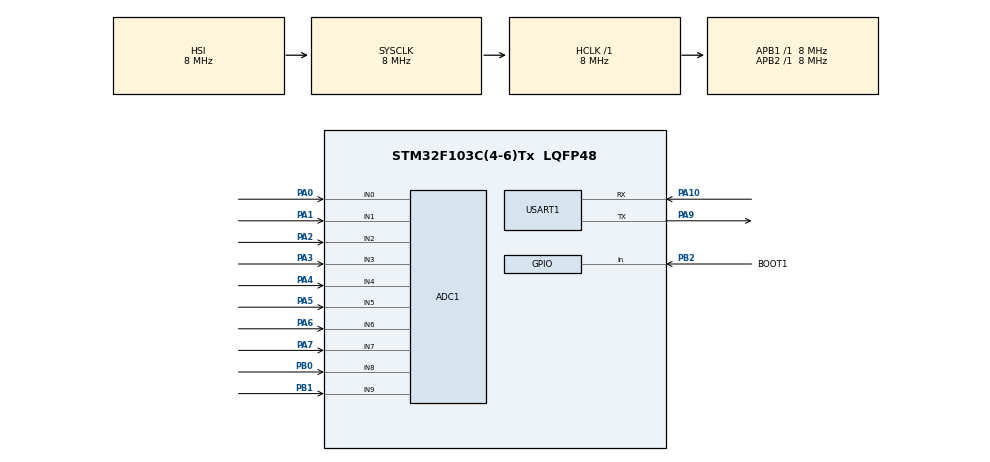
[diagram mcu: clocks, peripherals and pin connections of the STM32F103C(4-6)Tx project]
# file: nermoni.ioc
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ADC1.Channel-10\#ChannelRegularConversion=ADC_CHANNEL_0
ADC1.Channel-11\#ChannelRegularConversion=ADC_CHANNEL_1
ADC1.Channel-12\#ChannelRegularConversion=ADC_CHANNEL_2
ADC1.Channel-13\#ChannelRegularConversion=ADC_CHANNEL_3
ADC1.Channel-14\#ChannelRegularConversion=ADC_CHANNEL_4
ADC1.Channel-15\#ChannelRegularConversion=ADC_CHANNEL_5
ADC1.Channel-16\#ChannelRegularConversion=ADC_CHANNEL_6
ADC1.Channel-17\#ChannelRegularConversion=ADC_CHANNEL_7
ADC1.Channel-18\#ChannelRegularConversion=ADC_CHANNEL_8
ADC1.Channel-19\#ChannelRegularConversion=ADC_CHANNEL_9
ADC1.ContinuousConvMode=ENABLE
ADC1.NbrOfConversion=10
ADC1.NbrOfConversionFlag=1
ADC1.Rank-10\#ChannelRegularConversion=1
ADC1.Rank-11\#ChannelRegularConversion=2
ADC1.Rank-12\#ChannelRegularConversion=3
ADC1.Rank-13\#ChannelRegularConversion=4
ADC1.Rank-14\#ChannelRegularConversion=5
ADC1.Rank-15\#ChannelRegularConversion=6
ADC1.Rank-16\#ChannelRegularConversion=7
ADC1.Rank-17\#ChannelRegularConversion=8
ADC1.Rank-18\#ChannelRegularConversion=9
ADC1.Rank-19\#ChannelRegularConversion=10
ADC1.SamplingTime-10\#ChannelRegularConversion=ADC_SAMPLETIME_239CYCLES_5
ADC1.SamplingTime-11\#ChannelRegularConversion=ADC_SAMPLETIME_239CYCLES_5
ADC1.SamplingTime-12\#ChannelRegularConversion=ADC_SAMPLETIME_239CYCLES_5
ADC1.SamplingTime-13\#ChannelRegularConversion=ADC_SAMPLETIME_239CYCLES_5
ADC1.SamplingTime-14\#ChannelRegularConversion=ADC_SAMPLETIME_239CYCLES_5
ADC1.SamplingTime-15\#ChannelRegularConversion=ADC_SAMPLETIME_239CYCLES_5
ADC1.SamplingTime-16\#ChannelRegularConversion=ADC_SAMPLETIME_239CYCLES_5
ADC1.SamplingTime-17\#ChannelRegularConversion=ADC_SAMPLETIME_239CYCLES_5
ADC1.SamplingTime-18\#ChannelRegularConversion=ADC_SAMPLETIME_239CYCLES_5
ADC1.SamplingTime-19\#ChannelRegularConversion=ADC_SAMPLETIME_239CYCLES_5
ADC1.master=1
Dma.ADC1.0.Direction=DMA_PERIPH_TO_MEMORY
Dma.ADC1.0.Instance=DMA1_Channel1
Dma.ADC1.0.MemDataAlignment=DMA_MDATAALIGN_HALFWORD
Dma.ADC1.0.MemInc=DMA_MINC_ENABLE
Dma.ADC1.0.Mode=DMA_CIRCULAR
Dma.ADC1.0.PeriphDataAlignment=DMA_PDATAALIGN_HALFWORD
Dma.ADC1.0.PeriphInc=DMA_PINC_DISABLE
Dma.ADC1.0.Priority=DMA_PRIORITY_HIGH
Dma.Request0=ADC1
Mcu.Family=STM32F1
Mcu.Name=STM32F103C(4-6)Tx
Mcu.Package=LQFP48
NVIC.DMA1_Channel1_IRQn=true\:0\:0\:false\:false\:true\:false\:true\:true
NVIC.PriorityGroup=NVIC_PRIORITYGROUP_4
PA0-WKUP.Signal=ADCx_IN0
PA1.Signal=ADCx_IN1
PA10.Mode=Asynchronous
PA10.Signal=USART1_RX
PA2.Signal=ADCx_IN2
PA3.Signal=ADCx_IN3
PA4.Signal=ADCx_IN4
PA5.Signal=ADCx_IN5
PA6.Signal=ADCx_IN6
PA7.Signal=ADCx_IN7
PA9.Mode=Asynchronous
PA9.Signal=USART1_TX
PB0.Signal=ADCx_IN8
PB1.Signal=ADCx_IN9
PB2.GPIO_Label=BOOT1
PB2.Signal=GPIO_Input
ProjectManager.HeapSize=0x200
ProjectManager.StackSize=0x400
ProjectManager.TargetToolchain=Makefile
RCC.ADCPresc=RCC_ADCPCLK2_DIV4
RCC.AHBFreq_Value=8000000
RCC.APB1Freq_Value=8000000
RCC.APB1TimFreq_Value=8000000
RCC.APB2Freq_Value=8000000
RCC.APB2TimFreq_Value=8000000
RCC.HCLKFreq_Value=8000000
RCC.PLLMUL=RCC_PLL_MUL4
RCC.SYSCLKFreq_VALUE=8000000
RCC.USBFreq_Value=16000000
SH.ADCx_IN0.0=ADC1_IN0,IN0
SH.ADCx_IN1.0=ADC1_IN1,IN1
SH.ADCx_IN2.0=ADC1_IN2,IN2
SH.ADCx_IN3.0=ADC1_IN3,IN3
SH.ADCx_IN4.0=ADC1_IN4,IN4
SH.ADCx_IN5.0=ADC1_IN5,IN5
SH.ADCx_IN6.0=ADC1_IN6,IN6
SH.ADCx_IN7.0=ADC1_IN7,IN7
SH.ADCx_IN8.0=ADC1_IN8,IN8
SH.ADCx_IN9.0=ADC1_IN9,IN9
USART1.VirtualMode=VM_ASYNC
VP_SYS_VS_ND.Mode=No_Debug
board=custom

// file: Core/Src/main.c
/* USER CODE BEGIN Header */
/**
  ******************************************************************************
  * @file           : main.c
  * @brief          : Main program body
  ******************************************************************************
  * @attention
  *
  * Copyright (c) 2025 STMicroelectronics.
  * All rights reserved.
  *
  * This software is licensed under terms that can be found in the LICENSE file
  * in the root directory of this software component.
  * If no LICENSE file comes with this software, it is provided AS-IS.
  *
  ******************************************************************************
  */
/* USER CODE END Header */
#include "main.h"

/* USER CODE BEGIN Includes */
#include <assert.h>
/* USER CODE END Includes */

ADC_HandleTypeDef hadc1;
DMA_HandleTypeDef hdma_adc1;

UART_HandleTypeDef huart1;

void SystemClock_Config(void);
static void MX_GPIO_Init(void);
static void MX_DMA_Init(void);
static void MX_USART1_UART_Init(void);
static void MX_ADC1_Init(void);

/* USER CODE BEGIN 0 */
/* the following reroutes printf to uart */
#ifdef __GNUC__
#define PUTCHAR_PROTOTYPE int __io_putchar(int ch)
#else
#define PUTCHAR_PROTOTYPE int fputc(int ch, FILE *f)
#endif

PUTCHAR_PROTOTYPE
{
  HAL_UART_Transmit(&huart1, (uint8_t *)&ch, 1, HAL_MAX_DELAY);
  return ch;
}

int _write(int file, char* ptr, int len) {
  int DataIdx;

  for (DataIdx = 0; DataIdx < len; DataIdx++) {
    __io_putchar( *ptr++ );
  }
  return len;
}

/* USER CODE END 0 */

int main(void)
{

  /* MCU Configuration--------------------------------------------------------*/

  /* Reset of all peripherals, Initializes the Flash interface and the Systick. */
  HAL_Init();

  /* Configure the system clock */
  SystemClock_Config();

  /* Initialize all configured peripherals */
  MX_GPIO_Init();
  MX_DMA_Init();
  MX_USART1_UART_Init();
  MX_ADC1_Init();
  /* USER CODE BEGIN 2 */

  printf("INIT\n");

  uint16_t adc1_buf[10];
  assert(!HAL_ADC_Start_DMA(&hadc1,  (uint32_t *) adc1_buf, sizeof(adc1_buf) / sizeof(uint16_t)));

  /* USER CODE END 2 */

  /* Infinite loop */
  while (1)
  {

    /* USER CODE BEGIN 3 */

    // DEBUG
    // for (int i = 0; i < 10; i++) {
    //   printf("V%d: %d\n", i, adc1_buf[i]);
    // }

    printf("$%d,%d,%d,%d,%d,%d,%d,%d,%d,%d\n",
      adc1_buf[0], adc1_buf[1], adc1_buf[2],
      adc1_buf[3], adc1_buf[4], adc1_buf[5], adc1_buf[6], adc1_buf[7], adc1_buf[8], adc1_buf[9]);

    HAL_Delay(10);

  }
  /* USER CODE END 3 */
}

void SystemClock_Config(void)
{
  RCC_OscInitTypeDef RCC_OscInitStruct = {0};
  RCC_ClkInitTypeDef RCC_ClkInitStruct = {0};
  RCC_PeriphCLKInitTypeDef PeriphClkInit = {0};

  /** Initializes the RCC Oscillators according to the specified parameters
  * in the RCC_OscInitTypeDef structure.
  */
  RCC_OscInitStruct.OscillatorType = RCC_OSCILLATORTYPE_HSI;
  RCC_OscInitStruct.HSIState = RCC_HSI_ON;
  RCC_OscInitStruct.HSICalibrationValue = RCC_HSICALIBRATION_DEFAULT;
  RCC_OscInitStruct.PLL.PLLState = RCC_PLL_NONE;
  if (HAL_RCC_OscConfig(&RCC_OscInitStruct) != HAL_OK)
  {
    Error_Handler();
  }

  /** Initializes the CPU, AHB and APB buses clocks
  */
  RCC_ClkInitStruct.ClockType = RCC_CLOCKTYPE_HCLK|RCC_CLOCKTYPE_SYSCLK
                              |RCC_CLOCKTYPE_PCLK1|RCC_CLOCKTYPE_PCLK2;
  RCC_ClkInitStruct.SYSCLKSource = RCC_SYSCLKSOURCE_HSI;
  RCC_ClkInitStruct.AHBCLKDivider = RCC_SYSCLK_DIV1;
  RCC_ClkInitStruct.APB1CLKDivider = RCC_HCLK_DIV1;
  RCC_ClkInitStruct.APB2CLKDivider = RCC_HCLK_DIV1;

  if (HAL_RCC_ClockConfig(&RCC_ClkInitStruct, FLASH_LATENCY_0) != HAL_OK)
  {
    Error_Handler();
  }
  PeriphClkInit.PeriphClockSelection = RCC_PERIPHCLK_ADC;
  PeriphClkInit.AdcClockSelection = RCC_ADCPCLK2_DIV4;
  if (HAL_RCCEx_PeriphCLKConfig(&PeriphClkInit) != HAL_OK)
  {
    Error_Handler();
  }
}

static void MX_ADC1_Init(void)
{

  ADC_ChannelConfTypeDef sConfig = {0};

  /** Common config
  */
  hadc1.Instance = ADC1;
  hadc1.Init.ScanConvMode = ADC_SCAN_ENABLE;
  hadc1.Init.ContinuousConvMode = ENABLE;
  hadc1.Init.DiscontinuousConvMode = DISABLE;
  hadc1.Init.ExternalTrigConv = ADC_SOFTWARE_START;
  hadc1.Init.DataAlign = ADC_DATAALIGN_RIGHT;
  hadc1.Init.NbrOfConversion = 10;
  if (HAL_ADC_Init(&hadc1) != HAL_OK)
  {
    Error_Handler();
  }

  /** Configure Regular Channel
  */
  sConfig.Channel = ADC_CHANNEL_0;
  sConfig.Rank = ADC_REGULAR_RANK_1;
  sConfig.SamplingTime = ADC_SAMPLETIME_239CYCLES_5;
  if (HAL_ADC_ConfigChannel(&hadc1, &sConfig) != HAL_OK)
  {
    Error_Handler();
  }

  /** Configure Regular Channel
  */
  sConfig.Channel = ADC_CHANNEL_1;
  sConfig.Rank = ADC_REGULAR_RANK_2;
  if (HAL_ADC_ConfigChannel(&hadc1, &sConfig) != HAL_OK)
  {
    Error_Handler();
  }

  /** Configure Regular Channel
  */
  sConfig.Channel = ADC_CHANNEL_2;
  sConfig.Rank = ADC_REGULAR_RANK_3;
  if (HAL_ADC_ConfigChannel(&hadc1, &sConfig) != HAL_OK)
  {
    Error_Handler();
  }

  /** Configure Regular Channel
  */
  sConfig.Channel = ADC_CHANNEL_3;
  sConfig.Rank = ADC_REGULAR_RANK_4;
  if (HAL_ADC_ConfigChannel(&hadc1, &sConfig) != HAL_OK)
  {
    Error_Handler();
  }

  /** Configure Regular Channel
  */
  sConfig.Channel = ADC_CHANNEL_4;
  sConfig.Rank = ADC_REGULAR_RANK_5;
  if (HAL_ADC_ConfigChannel(&hadc1, &sConfig) != HAL_OK)
  {
    Error_Handler();
  }

  /** Configure Regular Channel
  */
  sConfig.Channel = ADC_CHANNEL_5;
  sConfig.Rank = ADC_REGULAR_RANK_6;
  if (HAL_ADC_ConfigChannel(&hadc1, &sConfig) != HAL_OK)
  {
    Error_Handler();
  }

  /** Configure Regular Channel
  */
  sConfig.Channel = ADC_CHANNEL_6;
  sConfig.Rank = ADC_REGULAR_RANK_7;
  if (HAL_ADC_ConfigChannel(&hadc1, &sConfig) != HAL_OK)
  {
    Error_Handler();
  }

  /** Configure Regular Channel
  */
  sConfig.Channel = ADC_CHANNEL_7;
  sConfig.Rank = ADC_REGULAR_RANK_8;
  if (HAL_ADC_ConfigChannel(&hadc1, &sConfig) != HAL_OK)
  {
    Error_Handler();
  }

  /** Configure Regular Channel
  */
  sConfig.Channel = ADC_CHANNEL_8;
  sConfig.Rank = ADC_REGULAR_RANK_9;
  if (HAL_ADC_ConfigChannel(&hadc1, &sConfig) != HAL_OK)
  {
    Error_Handler();
  }

  /** Configure Regular Channel
  */
  sConfig.Channel = ADC_CHANNEL_9;
  sConfig.Rank = ADC_REGULAR_RANK_10;
  if (HAL_ADC_ConfigChannel(&hadc1, &sConfig) != HAL_OK)
  {
    Error_Handler();
  }

}

static void MX_USART1_UART_Init(void)
{

  huart1.Instance = USART1;
  huart1.Init.BaudRate = 115200;
  huart1.Init.WordLength = UART_WORDLENGTH_8B;
  huart1.Init.StopBits = UART_STOPBITS_1;
  huart1.Init.Parity = UART_PARITY_NONE;
  huart1.Init.Mode = UART_MODE_TX_RX;
  huart1.Init.HwFlowCtl = UART_HWCONTROL_NONE;
  huart1.Init.OverSampling = UART_OVERSAMPLING_16;
  if (HAL_UART_Init(&huart1) != HAL_OK)
  {
    Error_Handler();
  }

}

static void MX_DMA_Init(void)
{

  /* DMA controller clock enable */
  __HAL_RCC_DMA1_CLK_ENABLE();

  /* DMA interrupt init */
  /* DMA1_Channel1_IRQn interrupt configuration */
  HAL_NVIC_SetPriority(DMA1_Channel1_IRQn, 0, 0);
  HAL_NVIC_EnableIRQ(DMA1_Channel1_IRQn);

}

static void MX_GPIO_Init(void)
{
  GPIO_InitTypeDef GPIO_InitStruct = {0};

  /* GPIO Ports Clock Enable */
  __HAL_RCC_GPIOA_CLK_ENABLE();
  __HAL_RCC_GPIOB_CLK_ENABLE();

  /*Configure GPIO pin : BOOT1_Pin */
  GPIO_InitStruct.Pin = BOOT1_Pin;
  GPIO_InitStruct.Mode = GPIO_MODE_INPUT;
  GPIO_InitStruct.Pull = GPIO_NOPULL;
  HAL_GPIO_Init(BOOT1_GPIO_Port, &GPIO_InitStruct);

}

void Error_Handler(void)
{
  __disable_irq();
  while (1)
  {
  }
}
